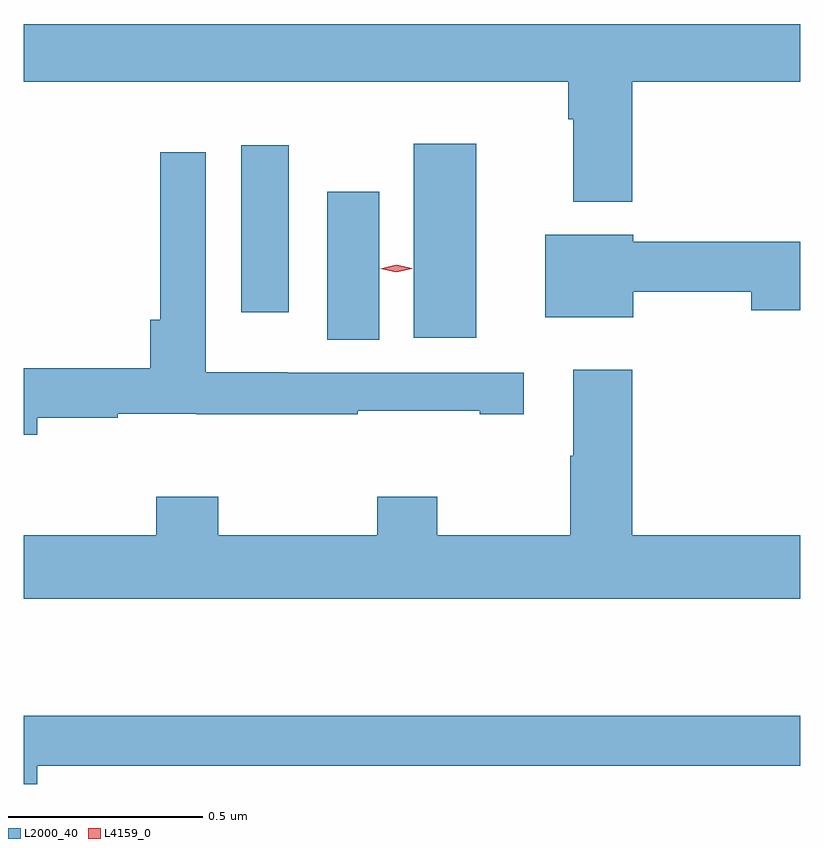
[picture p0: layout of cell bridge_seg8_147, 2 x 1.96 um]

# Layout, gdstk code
import gdstk
lib = gdstk.Library(unit=1e-6, precision=1e-09)
def R(c, l, rs):  # rectangles x0, y0, x1, y1
    for r in rs: c.add(gdstk.rectangle(r[:2], r[2:], *l))
def P(c, l, *ps):  # polygons
    for p in ps: c.add(gdstk.Polygon(p, *l))
L2000_40 = (2000, 40)
L4159_0 = (4159, 0)

bridge_seg8_147 = lib.new_cell('bridge_seg8_147')
R(bridge_seg8_147, L2000_40, [(521.006,1127.824,521.14,1128.205), (521.228,1127.829,521.389,1128.328), (520.784,1127.895,520.906,1128.325)])
P(bridge_seg8_147, L2000_40, [(521.792,1128.488),(522.224,1128.488),(522.224,1128.637),(520.224,1128.637),(520.224,1128.488),(521.627,1128.488),(521.627,1128.392),(521.639,1128.392),(521.639,1128.179),(521.792,1128.179)],
  [(520.258,1127.622),(520.466,1127.622),(520.466,1127.633),(520.668,1127.633),(520.668,1127.631),(521.084,1127.631),(521.084,1127.641),(521.399,1127.641),(521.399,1127.631),(521.512,1127.631),(521.512,1127.739),(520.902,1127.739),(520.902,1127.74),(520.692,1127.74),(520.692,1128.307),(520.576,1128.307),(520.576,1127.875),(520.55,1127.875),(520.55,1127.75),(520.224,1127.75),(520.224,1127.579),(520.258,1127.579)],
  [(521.794,1127.947),(522.098,1127.947),(522.098,1127.9),(522.224,1127.9),(522.224,1128.076),(521.794,1128.076),(521.794,1128.094),(521.567,1128.094),(521.567,1127.882),(521.794,1127.882)],
  [(522.224,1127.32),(521.792,1127.32),(521.792,1127.746),(521.639,1127.746),(521.639,1127.525),(521.632,1127.525),(521.632,1127.32),(521.289,1127.32),(521.289,1127.419),(521.134,1127.419),(521.134,1127.32),(520.725,1127.32),(520.725,1127.419),(520.565,1127.419),(520.565,1127.32),(520.224,1127.32),(520.224,1127.156),(522.224,1127.156)],
  [(520.258,1126.726),(522.224,1126.726),(522.224,1126.855),(520.224,1126.855),(520.224,1126.679),(520.258,1126.679)])
P(bridge_seg8_147, L4159_0, [(521.183,1127.997),(521.142,1128.007),(521.142,1128.007),(521.142,1128.007),(521.183,1128.017),(521.224,1128.008),(521.224,1128.008),(521.224,1128.007)])

lib.write_gds('bridge_seg8_147.gds')
